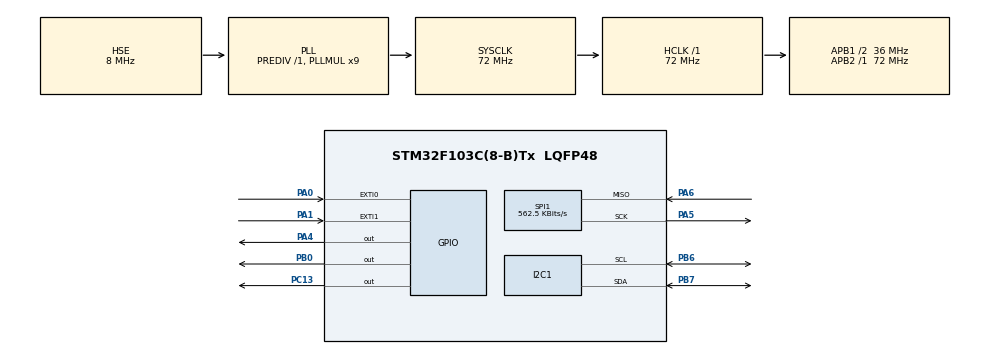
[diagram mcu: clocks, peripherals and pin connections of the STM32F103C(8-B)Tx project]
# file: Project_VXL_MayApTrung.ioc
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Mcu.Family=STM32F1
Mcu.Name=STM32F103C(8-B)Tx
Mcu.Package=LQFP48
NVIC.EXTI0_IRQn=true\:0\:0\:false\:false\:true\:true\:true\:true
NVIC.EXTI1_IRQn=true\:0\:0\:false\:false\:true\:true\:true\:true
NVIC.PriorityGroup=NVIC_PRIORITYGROUP_4
NVIC.TIM2_IRQn=true\:0\:0\:false\:false\:true\:true\:true\:true
PA0-WKUP.GPIO_ModeDefaultEXTI=GPIO_MODE_IT_FALLING
PA0-WKUP.GPIO_PuPd=GPIO_PULLUP
PA0-WKUP.Signal=GPXTI0
PA1.GPIO_ModeDefaultEXTI=GPIO_MODE_IT_FALLING
PA1.GPIO_PuPd=GPIO_PULLUP
PA1.Signal=GPXTI1
PA13.Mode=Serial_Wire
PA13.Signal=SYS_JTMS-SWDIO
PA14.Mode=Serial_Wire
PA14.Signal=SYS_JTCK-SWCLK
PA4.PinState=GPIO_PIN_SET
PA4.Signal=GPIO_Output
PA5.Mode=RX_Only_Simplex_Unidirect_Master
PA5.Signal=SPI1_SCK
PA6.Mode=RX_Only_Simplex_Unidirect_Master
PA6.Signal=SPI1_MISO
PB0.Signal=GPIO_Output
PB6.Mode=I2C
PB6.Signal=I2C1_SCL
PB7.Mode=I2C
PB7.Signal=I2C1_SDA
PC13-TAMPER-RTC.Signal=GPIO_Output
PD0-OSC_IN.Mode=HSE-External-Oscillator
PD0-OSC_IN.Signal=RCC_OSC_IN
PD1-OSC_OUT.Mode=HSE-External-Oscillator
PD1-OSC_OUT.Signal=RCC_OSC_OUT
ProjectManager.HeapSize=0x200
ProjectManager.StackSize=0x400
ProjectManager.TargetToolchain=MDK-ARM V5
RCC.AHBFreq_Value=72000000
RCC.APB1CLKDivider=RCC_HCLK_DIV2
RCC.APB1Freq_Value=36000000
RCC.APB1TimFreq_Value=72000000
RCC.APB2Freq_Value=72000000
RCC.APB2TimFreq_Value=72000000
RCC.HCLKFreq_Value=72000000
RCC.PLLMUL=RCC_PLL_MUL9
RCC.PLLSourceVirtual=RCC_PLLSOURCE_HSE
RCC.SYSCLKFreq_VALUE=72000000
RCC.SYSCLKSource=RCC_SYSCLKSOURCE_PLLCLK
RCC.USBFreq_Value=72000000
SPI1.BaudRatePrescaler=SPI_BAUDRATEPRESCALER_128
SPI1.CalculateBaudRate=562.5 KBits/s
SPI1.DataSize=SPI_DATASIZE_8BIT
SPI1.Direction=SPI_DIRECTION_2LINES_RXONLY
SPI1.Mode=SPI_MODE_MASTER
SPI1.VirtualType=VM_MASTER
TIM2.Period=9999
TIM2.Prescaler=1599
VP_TIM2_VS_ClockSourceINT.Mode=Internal
board=custom

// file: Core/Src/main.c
/* USER CODE BEGIN Header */
/**
  ******************************************************************************
  * @file           : main.c
  * @brief          : Main program body
  ******************************************************************************
  * @attention
  *
  * Copyright (c) 2025 STMicroelectronics.
  * All rights reserved.
  *
  * This software is licensed under terms that can be found in the LICENSE file
  * in the root directory of this software component.
  * If no LICENSE file comes with this software, it is provided AS-IS.
  *
  ******************************************************************************
  */
/* USER CODE END Header */
#include "main.h"

/* USER CODE BEGIN Includes */
#include "i2c-lcd.h"
#include "MAX6675.h"
#include "stdio.h"
/* USER CODE END Includes */

I2C_HandleTypeDef hi2c1;

SPI_HandleTypeDef hspi1;

TIM_HandleTypeDef htim2;

/* USER CODE BEGIN PV */

	char lcd_buff[20];	// khai bao mang chua ki tu nhiet do cua lo ap in ra lcd
	char buffer[20];		// khai bao mang chua ki tu nhiet do cai dat in ra lcd
	float temp;					// khai bao bien nhiet do
	float prev_temp;		// khai bao bien cap nhat nhiet do

	float tempThreshold = 33.0;			// khai bao bien nhiet do cai dat ban dau
	float	led_state = 0;						// khai bao bien trang thai LED
	uint8_t last_check_time = 0;		// khai bao bien delay bat tat den
	uint32_t last_button_press = 0;	// khai bao bien delay nut bam

/* USER CODE END PV */

void SystemClock_Config(void);
static void MX_GPIO_Init(void);
static void MX_I2C1_Init(void);
static void MX_SPI1_Init(void);
static void MX_TIM2_Init(void);

/* USER CODE BEGIN 0 */

	void AutoControl(float temp) {			// ham dieu khien den LED theo nguong nhiet do cai dat

		float tempdelay = 0.5; //  khoang tre
		float upperThreshold = tempThreshold + tempdelay;
		float lowerThreshold = tempThreshold - tempdelay;

		if (HAL_GetTick() - last_check_time >= 1000) {
       last_check_time = HAL_GetTick();

       if (temp < lowerThreshold && led_state == 0) {			// Neu nhiet do lo ap < nhiet do cai dat && trang thai LED tat
				 HAL_GPIO_WritePin(GPIOB, GPIO_PIN_0, GPIO_PIN_SET);  // Bat LED
				 led_state = 1;			// Ghi lai trang thai cua LED
			 }
			 else if (temp > upperThreshold && led_state == 1) 			// Neu nhiet do lo ap < nhiet do cai dat && trang thai LED tat
			 {
				 HAL_GPIO_WritePin(GPIOB, GPIO_PIN_0, GPIO_PIN_RESET);  // Tat LED
				 led_state = 0;			// Ghi lai trang thai cua LED
       }
			}
}

	void HAL_GPIO_EXTI_Callback(uint16_t GPIO_Pin) {			// ham ngat ngoai cho button tang giam nhiet do

		if (HAL_GetTick() - last_button_press < 200) return; // ham delay chong doi cho nut bam 200ms
    last_button_press = HAL_GetTick();

    if (GPIO_Pin == GPIO_PIN_0) { // Nut tang
        tempThreshold += 0.5;			// Tang nhiet do len 0.5
			HAL_GPIO_WritePin(GPIOC, GPIO_PIN_13, GPIO_PIN_SET);			// Den LED_ PC13 thong bao nut nhan

    } else if (GPIO_Pin == GPIO_PIN_1) { // Nut giam
        tempThreshold -= 0.5;			// Giam nhiet do xuong 0.5
			HAL_GPIO_WritePin(GPIOC, GPIO_PIN_13, GPIO_PIN_RESET);		// Den LED_ PC13 thong bao nut nhan
    }

}

	void HAL_TIM_PeriodElapsedCallback(TIM_HandleTypeDef *htim)			// ham timer dung de dat timer cho ham doc cam bien nhiet do
{
    if (htim->Instance == TIM2)
    {
        temp = Max6675_Read_Temp();

    }
}

/* USER CODE END 0 */

int main(void)
{

  /* MCU Configuration--------------------------------------------------------*/

  /* Reset of all peripherals, Initializes the Flash interface and the Systick. */
  HAL_Init();

  /* Configure the system clock */
  SystemClock_Config();

  /* Initialize all configured peripherals */
  MX_GPIO_Init();
  MX_I2C1_Init();
  MX_SPI1_Init();
  MX_TIM2_Init();
  /* USER CODE BEGIN 2 */

	  lcd_init();
    lcd_clear();

		lcd_send_string_pos("LoApTrung", 0, 0);
		HAL_Delay(1000);
		lcd_clear();

		HAL_TIM_Base_Start_IT(&htim2);  // goi ham timer doc cam bien

  /* USER CODE END 2 */

  /* Infinite loop */
  /* USER CODE BEGIN WHILE */
  while (1)
  {
		lcd_send_string_pos("SetTemp:", 0, 0);
		lcd_put_cur(0, 9);
		sprintf(buffer, "%.2f C", tempThreshold);
		lcd_send_string(buffer);

			if (temp != prev_temp) {
        lcd_put_cur(1, 0);
        if (temp == -1.0) {
            lcd_send_string("Sensor Error   ");
        } else {
						sprintf(lcd_buff, "TempLoAp:%.2f C", temp);
						lcd_send_string(lcd_buff);
        }
        prev_temp = temp;  // Cap nhat lai nhiet do cu
		}

		AutoControl(temp);		// Ham tu dong bat tat LED theo nhiet do cai dat

    HAL_Delay(1000);
    /* USER CODE END WHILE */

  }
}

void SystemClock_Config(void)
{
  RCC_OscInitTypeDef RCC_OscInitStruct = {0};
  RCC_ClkInitTypeDef RCC_ClkInitStruct = {0};

  /** Initializes the RCC Oscillators according to the specified parameters
  * in the RCC_OscInitTypeDef structure.
  */
  RCC_OscInitStruct.OscillatorType = RCC_OSCILLATORTYPE_HSE;
  RCC_OscInitStruct.HSEState = RCC_HSE_ON;
  RCC_OscInitStruct.HSEPredivValue = RCC_HSE_PREDIV_DIV1;
  RCC_OscInitStruct.HSIState = RCC_HSI_ON;
  RCC_OscInitStruct.PLL.PLLState = RCC_PLL_ON;
  RCC_OscInitStruct.PLL.PLLSource = RCC_PLLSOURCE_HSE;
  RCC_OscInitStruct.PLL.PLLMUL = RCC_PLL_MUL9;
  if (HAL_RCC_OscConfig(&RCC_OscInitStruct) != HAL_OK)
  {
    Error_Handler();
  }

  /** Initializes the CPU, AHB and APB buses clocks
  */
  RCC_ClkInitStruct.ClockType = RCC_CLOCKTYPE_HCLK|RCC_CLOCKTYPE_SYSCLK
                              |RCC_CLOCKTYPE_PCLK1|RCC_CLOCKTYPE_PCLK2;
  RCC_ClkInitStruct.SYSCLKSource = RCC_SYSCLKSOURCE_PLLCLK;
  RCC_ClkInitStruct.AHBCLKDivider = RCC_SYSCLK_DIV1;
  RCC_ClkInitStruct.APB1CLKDivider = RCC_HCLK_DIV2;
  RCC_ClkInitStruct.APB2CLKDivider = RCC_HCLK_DIV1;

  if (HAL_RCC_ClockConfig(&RCC_ClkInitStruct, FLASH_LATENCY_2) != HAL_OK)
  {
    Error_Handler();
  }
}

static void MX_I2C1_Init(void)
{

  hi2c1.Instance = I2C1;
  hi2c1.Init.ClockSpeed = 100000;
  hi2c1.Init.DutyCycle = I2C_DUTYCYCLE_2;
  hi2c1.Init.OwnAddress1 = 0;
  hi2c1.Init.AddressingMode = I2C_ADDRESSINGMODE_7BIT;
  hi2c1.Init.DualAddressMode = I2C_DUALADDRESS_DISABLE;
  hi2c1.Init.OwnAddress2 = 0;
  hi2c1.Init.GeneralCallMode = I2C_GENERALCALL_DISABLE;
  hi2c1.Init.NoStretchMode = I2C_NOSTRETCH_DISABLE;
  if (HAL_I2C_Init(&hi2c1) != HAL_OK)
  {
    Error_Handler();
  }

}

static void MX_SPI1_Init(void)
{

  /* SPI1 parameter configuration*/
  hspi1.Instance = SPI1;
  hspi1.Init.Mode = SPI_MODE_MASTER;
  hspi1.Init.Direction = SPI_DIRECTION_2LINES_RXONLY;
  hspi1.Init.DataSize = SPI_DATASIZE_8BIT;
  hspi1.Init.CLKPolarity = SPI_POLARITY_LOW;
  hspi1.Init.CLKPhase = SPI_PHASE_1EDGE;
  hspi1.Init.NSS = SPI_NSS_SOFT;
  hspi1.Init.BaudRatePrescaler = SPI_BAUDRATEPRESCALER_128;
  hspi1.Init.FirstBit = SPI_FIRSTBIT_MSB;
  hspi1.Init.TIMode = SPI_TIMODE_DISABLE;
  hspi1.Init.CRCCalculation = SPI_CRCCALCULATION_DISABLE;
  hspi1.Init.CRCPolynomial = 10;
  if (HAL_SPI_Init(&hspi1) != HAL_OK)
  {
    Error_Handler();
  }

}

static void MX_TIM2_Init(void)
{

  TIM_ClockConfigTypeDef sClockSourceConfig = {0};
  TIM_MasterConfigTypeDef sMasterConfig = {0};

  htim2.Instance = TIM2;
  htim2.Init.Prescaler = 1599;
  htim2.Init.CounterMode = TIM_COUNTERMODE_UP;
  htim2.Init.Period = 9999;
  htim2.Init.ClockDivision = TIM_CLOCKDIVISION_DIV1;
  htim2.Init.AutoReloadPreload = TIM_AUTORELOAD_PRELOAD_DISABLE;
  if (HAL_TIM_Base_Init(&htim2) != HAL_OK)
  {
    Error_Handler();
  }
  sClockSourceConfig.ClockSource = TIM_CLOCKSOURCE_INTERNAL;
  if (HAL_TIM_ConfigClockSource(&htim2, &sClockSourceConfig) != HAL_OK)
  {
    Error_Handler();
  }
  sMasterConfig.MasterOutputTrigger = TIM_TRGO_RESET;
  sMasterConfig.MasterSlaveMode = TIM_MASTERSLAVEMODE_DISABLE;
  if (HAL_TIMEx_MasterConfigSynchronization(&htim2, &sMasterConfig) != HAL_OK)
  {
    Error_Handler();
  }

}

static void MX_GPIO_Init(void)
{
  GPIO_InitTypeDef GPIO_InitStruct = {0};

  /* GPIO Ports Clock Enable */
  __HAL_RCC_GPIOC_CLK_ENABLE();
  __HAL_RCC_GPIOD_CLK_ENABLE();
  __HAL_RCC_GPIOA_CLK_ENABLE();
  __HAL_RCC_GPIOB_CLK_ENABLE();

  /*Configure GPIO pin Output Level */
  HAL_GPIO_WritePin(GPIOC, GPIO_PIN_13, GPIO_PIN_RESET);

  /*Configure GPIO pin Output Level */
  HAL_GPIO_WritePin(GPIOA, GPIO_PIN_4, GPIO_PIN_SET);

  /*Configure GPIO pin Output Level */
  HAL_GPIO_WritePin(GPIOB, GPIO_PIN_0, GPIO_PIN_RESET);

  /*Configure GPIO pin : PC13 */
  GPIO_InitStruct.Pin = GPIO_PIN_13;
  GPIO_InitStruct.Mode = GPIO_MODE_OUTPUT_PP;
  GPIO_InitStruct.Pull = GPIO_NOPULL;
  GPIO_InitStruct.Speed = GPIO_SPEED_FREQ_LOW;
  HAL_GPIO_Init(GPIOC, &GPIO_InitStruct);

  /*Configure GPIO pins : PA0 PA1 */
  GPIO_InitStruct.Pin = GPIO_PIN_0|GPIO_PIN_1;
  GPIO_InitStruct.Mode = GPIO_MODE_IT_FALLING;
  GPIO_InitStruct.Pull = GPIO_PULLUP;
  HAL_GPIO_Init(GPIOA, &GPIO_InitStruct);

  /*Configure GPIO pin : PA4 */
  GPIO_InitStruct.Pin = GPIO_PIN_4;
  GPIO_InitStruct.Mode = GPIO_MODE_OUTPUT_PP;
  GPIO_InitStruct.Pull = GPIO_NOPULL;
  GPIO_InitStruct.Speed = GPIO_SPEED_FREQ_LOW;
  HAL_GPIO_Init(GPIOA, &GPIO_InitStruct);

  /*Configure GPIO pin : PB0 */
  GPIO_InitStruct.Pin = GPIO_PIN_0;
  GPIO_InitStruct.Mode = GPIO_MODE_OUTPUT_PP;
  GPIO_InitStruct.Pull = GPIO_NOPULL;
  GPIO_InitStruct.Speed = GPIO_SPEED_FREQ_LOW;
  HAL_GPIO_Init(GPIOB, &GPIO_InitStruct);

  /* EXTI interrupt init*/
  HAL_NVIC_SetPriority(EXTI0_IRQn, 0, 0);
  HAL_NVIC_EnableIRQ(EXTI0_IRQn);

  HAL_NVIC_SetPriority(EXTI1_IRQn, 0, 0);
  HAL_NVIC_EnableIRQ(EXTI1_IRQn);

}

void Error_Handler(void)
{
  __disable_irq();
  while (1)
  {
  }
}
